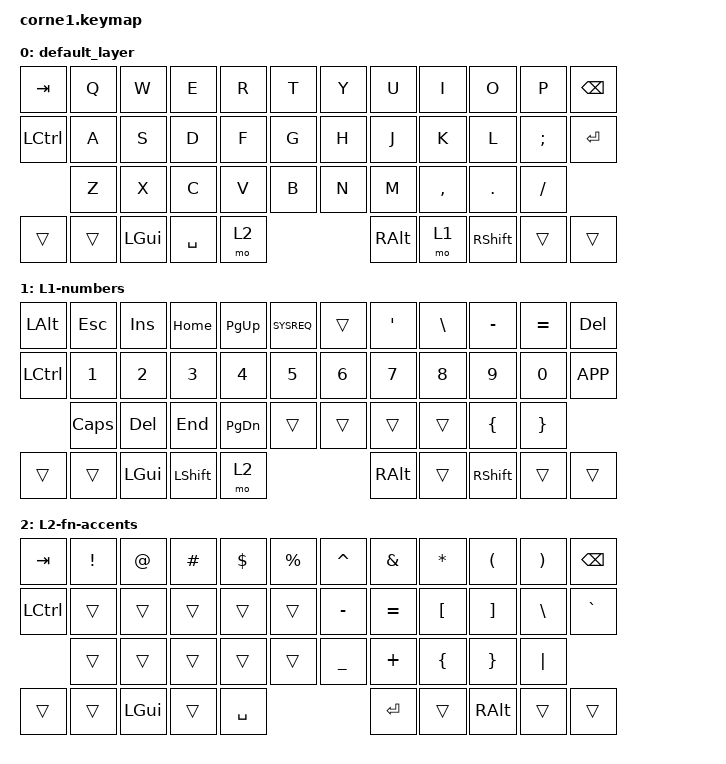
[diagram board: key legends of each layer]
/*
 * Copyright (c) 2020 The ZMK Contributors
 *
 * SPDX-License-Identifier: MIT
 */

#include <behaviors.dtsi>
#include <dt-bindings/zmk/keys.h>
#include <dt-bindings/zmk/bt.h>

/ {
        km: keymap {
                compatible = "zmk,keymap";

                default_layer {
// -----------------------------------------------------------------------------------------
// |  TAB  |  Q  |  W  |  E  |  R  |  T  |     |  Y  |  U  |  I  |  O  |  P  |  BSPC  |
// |  CTRL |  A  |  S  |  D  |  F  |  G  |     |  H  |  J  |  K  |  L  |  ;  |  ENTER |
//         |  Z  |  X  |  C  |  V  |  B  |     |  N  |  M  |  ,  |  .  |  /  | 
//                     | LGUI| SPC | L2  |     | ALT | L1  |SHIFT|
                        bindings = <
    &kp TAB   &kp Q &kp W &kp E &kp R &kp T     &kp Y &kp U  &kp I     &kp O   &kp P    &kp BSPC
    &kp LCTRL &kp A &kp S &kp D &kp F &kp G     &kp H &kp J  &kp K     &kp L   &kp SEMI &kp RET
              &kp Z &kp X &kp C &kp V &kp B     &kp N &kp M  &kp COMMA &kp DOT &kp FSLH 
    &trans   &trans &kp LGUI &kp SPACE &mo 2   &kp RALT &mo 1 &kp RSHFT         &trans   &trans
                        >;
                };
                L1-numbers {
// ---------------------------------------------------------------------------------------------------------
// |       |  ESC |  INS |  HOME |  PG_UP  |  SYS_QR |         |     |  '  |  \  |  -  |  =  |  DEL  |
// |  CTRL |  1   |  2   |   3   |    4    |    5    |         |  6  |  7  |  8  |  9  |  0  |  APP  |
//         | CAPS |  DEL |  END  | PG_DOWN |         |         |     |     |  [  |  ]  |     | 
//                       | LGUI  |   SPC   |   L2    |         | ALT | L1  |SHIFT|
                        bindings = <
    &kp LALT  &kp ESC  &kp INS &kp HOME &kp PG_UP &kp SYSREQ   &trans   &kp SQT &kp BSLH &kp MINUS &kp EQUAL &kp DEL
    &kp LCTRL &kp N1   &kp N2  &kp N3   &kp N4    &kp N5       &kp N6   &kp N7  &kp N8   &kp N9    &kp N0     &kp K_APP
              &kp CAPS &kp DEL &kp END  &kp PG_DN &trans       &trans   &trans  &trans   &kp LBRC  &kp RBRC 
    &trans   &trans            &kp LGUI &kp LSHFT &mo 2        &kp RALT &trans  &kp RSHFT          &trans   &trans
                             >; 
                };
                L2-fn-accents {
// -----------------------------------------------------------------------------------------
// |  TAB |  !  |  @  |  #  |  $  |  %  |   |  ^  |  &  |  *  |  (  |  )  | BSPC |
// | CTRL |     |     |     |     |     |   |  -  |  =  |  [  |  ]  |  \  |  `   |
// | SHFT |     |     |     |     |     |   |  _  |  +  |  {  |  }  | "|" |  ~   |
//                    | GUI |     | SPC |   | ENT |     | ALT |
                        bindings = <
   &kp  TAB  &kp EXCL &kp AT &kp HASH &kp DLLR &kp PRCNT   &kp CARET &kp AMPS  &kp ASTRK &kp LPAR &kp RPAR &kp BSPC
   &kp LCTRL &trans   &trans &trans   &trans   &trans      &kp MINUS &kp EQUAL &kp LBKT  &kp RBKT &kp BSLH &kp GRAVE
             &trans   &trans &trans   &trans   &trans      &kp UNDER &kp PLUS  &kp LBRC  &kp RBRC &kp PIPE 
   &trans    &trans          &kp LGUI &trans   &kp SPACE   &kp RET   &trans    &kp RALT           &trans   &trans
                        >;
                };
        };
};
